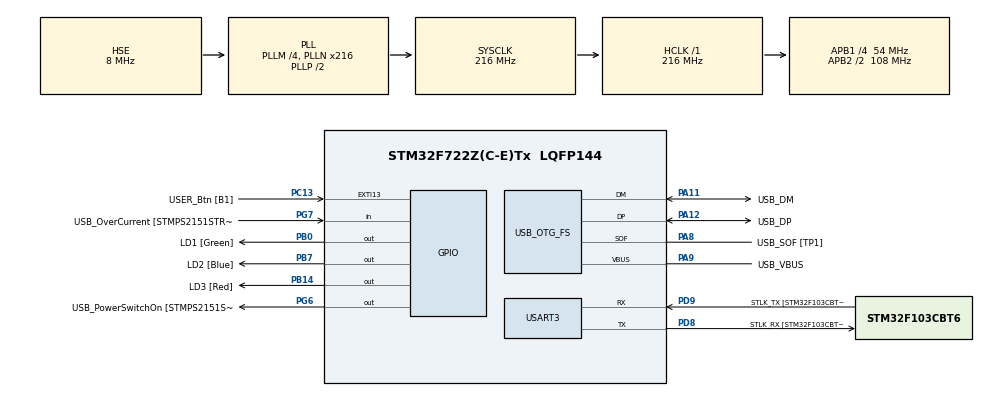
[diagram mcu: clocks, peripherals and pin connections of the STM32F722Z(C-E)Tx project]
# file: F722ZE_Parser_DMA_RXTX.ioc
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Dma.Request0=USART3_RX
Dma.Request1=USART3_TX
Dma.USART3_RX.0.Direction=DMA_PERIPH_TO_MEMORY
Dma.USART3_RX.0.FIFOMode=DMA_FIFOMODE_DISABLE
Dma.USART3_RX.0.Instance=DMA1_Stream1
Dma.USART3_RX.0.MemDataAlignment=DMA_MDATAALIGN_BYTE
Dma.USART3_RX.0.MemInc=DMA_MINC_ENABLE
Dma.USART3_RX.0.Mode=DMA_CIRCULAR
Dma.USART3_RX.0.PeriphDataAlignment=DMA_PDATAALIGN_BYTE
Dma.USART3_RX.0.PeriphInc=DMA_PINC_DISABLE
Dma.USART3_RX.0.Priority=DMA_PRIORITY_LOW
Dma.USART3_TX.1.Direction=DMA_MEMORY_TO_PERIPH
Dma.USART3_TX.1.FIFOMode=DMA_FIFOMODE_DISABLE
Dma.USART3_TX.1.Instance=DMA1_Stream3
Dma.USART3_TX.1.MemDataAlignment=DMA_MDATAALIGN_BYTE
Dma.USART3_TX.1.MemInc=DMA_MINC_ENABLE
Dma.USART3_TX.1.Mode=DMA_NORMAL
Dma.USART3_TX.1.PeriphDataAlignment=DMA_PDATAALIGN_BYTE
Dma.USART3_TX.1.PeriphInc=DMA_PINC_DISABLE
Dma.USART3_TX.1.Priority=DMA_PRIORITY_LOW
Mcu.Family=STM32F7
Mcu.Name=STM32F722Z(C-E)Tx
Mcu.Package=LQFP144
NVIC.DMA1_Stream1_IRQn=true\:0\:0\:false\:false\:true\:false\:true
NVIC.DMA1_Stream3_IRQn=true\:0\:0\:false\:false\:true\:false\:true
NVIC.PriorityGroup=NVIC_PRIORITYGROUP_4
NVIC.USART3_IRQn=true\:0\:0\:false\:false\:true\:true\:true
PA10.GPIO_Label=USB_ID
PA10.Signal=USB_OTG_FS_ID
PA11.GPIO_Label=USB_DM
PA11.Mode=Device_Only
PA11.Signal=USB_OTG_FS_DM
PA12.GPIO_Label=USB_DP
PA12.Mode=Device_Only
PA12.Signal=USB_OTG_FS_DP
PA13.GPIO_Label=TMS
PA13.Mode=Serial_Wire
PA13.Signal=SYS_JTMS-SWDIO
PA14.GPIO_Label=TCK
PA14.Mode=Serial_Wire
PA14.Signal=SYS_JTCK-SWCLK
PA8.GPIO_Label=USB_SOF [TP1]
PA8.Mode=Activate_SOF_FS
PA8.Signal=USB_OTG_FS_SOF
PA9.GPIO_Label=USB_VBUS
PA9.Mode=Activate_VBUS
PA9.Signal=USB_OTG_FS_VBUS
PB0.GPIO_Label=LD1 [Green]
PB0.Signal=GPIO_Output
PB14.GPIO_Label=LD3 [Red]
PB14.Signal=GPIO_Output
PB3.GPIO_Label=SWO
PB3.Signal=SYS_JTDO-SWO
PB7.GPIO_Label=LD2 [Blue]
PB7.Signal=GPIO_Output
PC13.GPIO_Label=USER_Btn [B1]
PC13.Signal=GPXTI13
PC14-OSC32_IN.Mode=LSE-External-Oscillator
PC14-OSC32_IN.Signal=RCC_OSC32_IN
PC15-OSC32_OUT.Mode=LSE-External-Oscillator
PC15-OSC32_OUT.Signal=RCC_OSC32_OUT
PD8.GPIO_Label=STLK_RX [STM32F103CBT6_PA3]
PD8.Mode=Asynchronous
PD8.Signal=USART3_TX
PD9.GPIO_Label=STLK_TX [STM32F103CBT6_PA2]
PD9.Mode=Asynchronous
PD9.Signal=USART3_RX
PG6.GPIO_Label=USB_PowerSwitchOn [STMPS2151STR_EN]
PG6.Signal=GPIO_Output
PG7.GPIO_Label=USB_OverCurrent [STMPS2151STR_FAULT]
PG7.Signal=GPIO_Input
PH0-OSC_IN.GPIO_Label=MCO
PH0-OSC_IN.Mode=HSE-External-Clock-Source
PH0-OSC_IN.Signal=RCC_OSC_IN
PH1-OSC_OUT.Mode=HSE-External-Clock-Source
PH1-OSC_OUT.Signal=RCC_OSC_OUT
ProjectManager.HeapSize=0x200
ProjectManager.StackSize=0x400
ProjectManager.TargetToolchain=STM32CubeIDE
RCC.48MHZClocksFreq_Value=24000000
RCC.AHBFreq_Value=216000000
RCC.APB1CLKDivider=RCC_HCLK_DIV4
RCC.APB1Freq_Value=54000000
RCC.APB1TimFreq_Value=108000000
RCC.APB2CLKDivider=RCC_HCLK_DIV2
RCC.APB2Freq_Value=108000000
RCC.APB2TimFreq_Value=216000000
RCC.CortexFreq_Value=216000000
RCC.HCLKFreq_Value=216000000
RCC.HSE_VALUE=8000000
RCC.HSI_VALUE=16000000
RCC.PLLM=4
RCC.PLLMUL=RCC_PLL_MUL9
RCC.PLLN=216
RCC.PLLQ=9
RCC.PRESCALERUSB=RCC_USBCLKSOURCE_PLL_DIV1_5
RCC.SYSCLKFreq_VALUE=216000000
RCC.SYSCLKSource=RCC_SYSCLKSOURCE_PLLCLK
RCC.SYSCLKSourceVirtual=RCC_SYSCLKSOURCE_PLLCLK
RCC.USBFreq_Value=48000000
RCC.VCOOutputFreq_Value=432000000
USART3.VirtualMode-Asynchronous=VM_ASYNC
USB_OTG_FS.VirtualMode=Device_Only
board=NUCLEO-F722ZE

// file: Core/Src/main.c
/* USER CODE BEGIN Header */
/**
  ******************************************************************************
  * @file           : main.c
  * @brief          : Main program body
  ******************************************************************************
  * @attention
  *
  * <h2><center>&copy; Copyright (c) 2021 STMicroelectronics.
  * All rights reserved.</center></h2>
  *
  * This software component is licensed by ST under BSD 3-Clause license,
  * the "License"; You may not use this file except in compliance with the
  * License. You may obtain a copy of the License at:
  *                        opensource.org/licenses/BSD-3-Clause
  *
  ******************************************************************************
  */
/* USER CODE END Header */
#include "main.h"
#include "dma.h"
#include "usart.h"
#include "usb_otg.h"
#include "gpio.h"

/* USER CODE BEGIN Includes */
#include "fw_app.h"
/* USER CODE END Includes */

/* USER CODE BEGIN PV */
static uint32_t     _rx_count;
static uint8_t      _rx_data;
static fl_status_t  _ret;
/* USER CODE END PV */

void SystemClock_Config(void);
/* USER CODE BEGIN PFP */
static void message_processing();
/* USER CODE END PFP */

int main(void)
{
  /* USER CODE BEGIN 1 */
  fw_app_init();
  /* USER CODE END 1 */

  /* MCU Configuration--------------------------------------------------------*/

  /* Reset of all peripherals, Initializes the Flash interface and the Systick. */
  HAL_Init();

  /* Configure the system clock */
  SystemClock_Config();

  /* Initialize all configured peripherals */
  MX_GPIO_Init();
  MX_DMA_Init();
  MX_USART3_UART_Init();
  MX_USB_OTG_FS_PCD_Init();
  /* USER CODE BEGIN 2 */
  fw_app_hw_init();
  /* USER CODE END 2 */

  /* Infinite loop */
  /* USER CODE BEGIN WHILE */
  while (1)
  {
    message_processing();
//    _rx_count = fl_dma_q_count(&g_app.proto_mgr.q);
//    if (_rx_count > 0)
//    {
//      for (uint32_t i = 0; i < _rx_count; i++)
//      {
//        fl_dma_q_pop(&g_app.proto_mgr.q, &_rx_data);
//        _ret = fl_txt_msg_parser_parse_command(&g_app.proto_mgr.parser_handle, _rx_data, NULL);
//        if (_ret != FL_TXT_MSG_PARSER_PARSING)
//        {
//          fl_txt_msg_parser_clear(&g_app.proto_mgr.parser_handle);
//        }
//      }
//    }
    /* USER CODE END WHILE */

  }
}

void SystemClock_Config(void)
{
  RCC_OscInitTypeDef RCC_OscInitStruct = {0};
  RCC_ClkInitTypeDef RCC_ClkInitStruct = {0};
  RCC_PeriphCLKInitTypeDef PeriphClkInitStruct = {0};

  /** Configure LSE Drive Capability
  */
  HAL_PWR_EnableBkUpAccess();
  /** Configure the main internal regulator output voltage
  */
  __HAL_RCC_PWR_CLK_ENABLE();
  __HAL_PWR_VOLTAGESCALING_CONFIG(PWR_REGULATOR_VOLTAGE_SCALE1);
  /** Initializes the RCC Oscillators according to the specified parameters
  * in the RCC_OscInitTypeDef structure.
  */
  RCC_OscInitStruct.OscillatorType = RCC_OSCILLATORTYPE_HSE;
  RCC_OscInitStruct.HSEState = RCC_HSE_BYPASS;
  RCC_OscInitStruct.PLL.PLLState = RCC_PLL_ON;
  RCC_OscInitStruct.PLL.PLLSource = RCC_PLLSOURCE_HSE;
  RCC_OscInitStruct.PLL.PLLM = 4;
  RCC_OscInitStruct.PLL.PLLN = 216;
  RCC_OscInitStruct.PLL.PLLP = RCC_PLLP_DIV2;
  RCC_OscInitStruct.PLL.PLLQ = 9;
  if (HAL_RCC_OscConfig(&RCC_OscInitStruct) != HAL_OK)
  {
    Error_Handler();
  }
  /** Activate the Over-Drive mode
  */
  if (HAL_PWREx_EnableOverDrive() != HAL_OK)
  {
    Error_Handler();
  }
  /** Initializes the CPU, AHB and APB buses clocks
  */
  RCC_ClkInitStruct.ClockType = RCC_CLOCKTYPE_HCLK|RCC_CLOCKTYPE_SYSCLK
                              |RCC_CLOCKTYPE_PCLK1|RCC_CLOCKTYPE_PCLK2;
  RCC_ClkInitStruct.SYSCLKSource = RCC_SYSCLKSOURCE_PLLCLK;
  RCC_ClkInitStruct.AHBCLKDivider = RCC_SYSCLK_DIV1;
  RCC_ClkInitStruct.APB1CLKDivider = RCC_HCLK_DIV4;
  RCC_ClkInitStruct.APB2CLKDivider = RCC_HCLK_DIV2;

  if (HAL_RCC_ClockConfig(&RCC_ClkInitStruct, FLASH_LATENCY_7) != HAL_OK)
  {
    Error_Handler();
  }
  PeriphClkInitStruct.PeriphClockSelection = RCC_PERIPHCLK_USART3|RCC_PERIPHCLK_CLK48;
  PeriphClkInitStruct.Usart3ClockSelection = RCC_USART3CLKSOURCE_PCLK1;
  PeriphClkInitStruct.Clk48ClockSelection = RCC_CLK48SOURCE_PLL;
  if (HAL_RCCEx_PeriphCLKConfig(&PeriphClkInitStruct) != HAL_OK)
  {
    Error_Handler();
  }
}

/* USER CODE BEGIN 4 */
#if FW_APP_PARSER == FW_APP_TXT_PARSER
static void message_processing()
{
  _rx_count = fl_dma_q_count(&g_app.proto_mgr.q);
  if (_rx_count > 0)
  {
    for (uint32_t i = 0; i < _rx_count; i++)
    {
      fl_dma_q_pop(&g_app.proto_mgr.q, &_rx_data);
      _ret = fl_txt_msg_parser_parse_command(&g_app.proto_mgr.parser_handle, _rx_data, NULL);
      if (_ret != FL_TXT_MSG_PARSER_PARSING)
      {
        fl_txt_msg_parser_clear(&g_app.proto_mgr.parser_handle);
      }
    }
  }
}
#else
static void message_processing()
{
  _rx_count = fl_dma_q_count(&g_app.proto_mgr.q);
  if (_rx_count > 0)
  {
    for (uint32_t i = 0; i < _rx_count; i++)
    {
      fl_dma_q_pop(&g_app.proto_mgr.q, &_rx_data);
      _ret = fl_bin_msg_parser_parse(&g_app.proto_mgr.parser_handle, _rx_data, NULL);
      if (_ret != FL_BIN_MSG_PARSER_PARSING)
      {
        fl_bin_msg_parser_clear(&g_app.proto_mgr.parser_handle);
      }
    }
  }
}
#endif
/* USER CODE END 4 */

void Error_Handler(void)
{
  __disable_irq();
  while (1)
  {
  }
}

/************************ (C) COPYRIGHT STMicroelectronics *****END OF FILE****/
